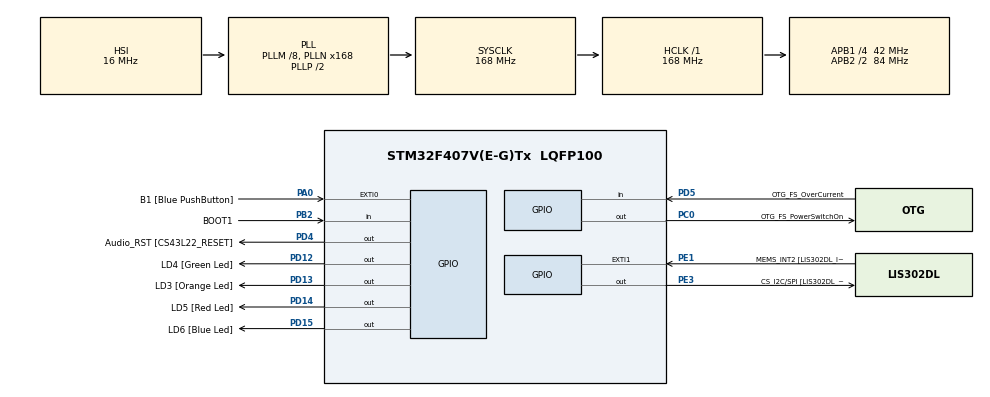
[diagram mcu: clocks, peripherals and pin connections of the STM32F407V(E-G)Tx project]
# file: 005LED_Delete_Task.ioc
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Mcu.Family=STM32F4
Mcu.Name=STM32F407V(E-G)Tx
Mcu.Package=LQFP100
NVIC.PriorityGroup=NVIC_PRIORITYGROUP_4
NVIC.TIM6_DAC_IRQn=true\:0\:0\:false\:false\:true\:false\:true\:true
NVIC.TimeBase=TIM6_DAC_IRQn
NVIC.TimeBaseIP=TIM6
PA0-WKUP.GPIO_Label=B1 [Blue PushButton]
PA0-WKUP.Signal=GPXTI0
PA10.GPIO_Label=OTG_FS_ID
PA10.GPIO_Mode=GPIO_MODE_AF_PP
PA10.GPIO_PuPd=GPIO_NOPULL
PA10.GPIO_Speed=GPIO_SPEED_FREQ_LOW
PA10.Signal=USB_OTG_FS_ID
PA11.GPIO_Label=OTG_FS_DM
PA11.GPIO_Mode=GPIO_MODE_AF_PP
PA11.GPIO_PuPd=GPIO_NOPULL
PA11.GPIO_Speed=GPIO_SPEED_FREQ_LOW
PA11.Signal=USB_OTG_FS_DM
PA12.GPIO_Label=OTG_FS_DP
PA12.GPIO_Mode=GPIO_MODE_AF_PP
PA12.GPIO_PuPd=GPIO_NOPULL
PA12.GPIO_Speed=GPIO_SPEED_FREQ_LOW
PA12.Signal=USB_OTG_FS_DP
PA13.GPIO_Label=SWDIO
PA13.Signal=SYS_JTMS-SWDIO
PA14.GPIO_Label=SWCLK
PA14.Signal=SYS_JTCK-SWCLK
PA4.GPIO_Label=I2S3_WS [CS43L22_LRCK]
PA4.GPIO_Mode=GPIO_MODE_AF_PP
PA4.GPIO_PuPd=GPIO_NOPULL
PA4.GPIO_Speed=GPIO_SPEED_FREQ_LOW
PA4.Signal=I2S3_WS
PA5.GPIO_Label=SPI1_SCK [LIS302DL_SCL/SPC]
PA5.GPIO_Mode=GPIO_MODE_AF_PP
PA5.GPIO_PuPd=GPIO_NOPULL
PA5.GPIO_Speed=GPIO_SPEED_FREQ_LOW
PA5.Signal=SPI1_SCK
PA6.GPIO_Label=SPI1_MISO [LIS302DL_SDO]
PA6.GPIO_Mode=GPIO_MODE_AF_PP
PA6.GPIO_PuPd=GPIO_NOPULL
PA6.GPIO_Speed=GPIO_SPEED_FREQ_LOW
PA6.Signal=SPI1_MISO
PA7.GPIO_Label=SPI1_MOSI [LIS302DL_SDA/SDI/SDO]
PA7.GPIO_Mode=GPIO_MODE_AF_PP
PA7.GPIO_PuPd=GPIO_NOPULL
PA7.GPIO_Speed=GPIO_SPEED_FREQ_LOW
PA7.Signal=SPI1_MOSI
PA9.GPIO_Label=VBUS_FS
PA9.GPIO_Mode=GPIO_MODE_INPUT
PA9.GPIO_PuPd=GPIO_NOPULL
PA9.Signal=USB_OTG_FS_VBUS
PB10.GPIO_Label=CLK_IN [MP45DT02_CLK]
PB10.GPIO_Mode=GPIO_MODE_AF_PP
PB10.GPIO_PuPd=GPIO_NOPULL
PB10.GPIO_Speed=GPIO_SPEED_FREQ_LOW
PB10.Signal=I2S2_CK
PB2.GPIO_Label=BOOT1
PB2.GPIO_Mode=GPIO_MODE_INPUT
PB2.GPIO_PuPd=GPIO_NOPULL
PB2.Signal=GPIO_Input
PB3.GPIO_Label=SWO
PB3.Signal=SYS_JTDO-SWO
PB6.GPIO_Label=Audio_SCL [CS43L22_SCL]
PB6.GPIO_Mode=GPIO_MODE_AF_OD
PB6.GPIO_PuPd=GPIO_NOPULL
PB6.GPIO_Speed=GPIO_SPEED_FREQ_LOW
PB6.Signal=I2C1_SCL
PB9.GPIO_Label=Audio_SDA [CS43L22_SDA]
PB9.GPIO_Mode=GPIO_MODE_AF_OD
PB9.GPIO_PuPd=GPIO_NOPULL
PB9.GPIO_Speed=GPIO_SPEED_FREQ_LOW
PB9.Signal=I2C1_SDA
PC0.GPIO_Label=OTG_FS_PowerSwitchOn
PC0.GPIO_PuPd=GPIO_NOPULL
PC0.GPIO_Speed=GPIO_SPEED_FREQ_LOW
PC0.PinState=GPIO_PIN_SET
PC0.Signal=GPIO_Output
PC10.GPIO_Label=I2S3_SCK [CS43L22_SCLK]
PC10.GPIO_Mode=GPIO_MODE_AF_PP
PC10.GPIO_PuPd=GPIO_NOPULL
PC10.GPIO_Speed=GPIO_SPEED_FREQ_LOW
PC10.Signal=I2S3_CK
PC12.GPIO_Label=I2S3_SD [CS43L22_SDIN]
PC12.GPIO_Mode=GPIO_MODE_AF_PP
PC12.GPIO_PuPd=GPIO_NOPULL
PC12.GPIO_Speed=GPIO_SPEED_FREQ_LOW
PC12.Signal=I2S3_SD
PC14-OSC32_IN.GPIO_Label=PC14-OSC32_IN
PC14-OSC32_IN.Signal=RCC_OSC32_IN
PC15-OSC32_OUT.GPIO_Label=PC15-OSC32_OUT
PC15-OSC32_OUT.Signal=RCC_OSC32_OUT
PC3.GPIO_Label=PDM_OUT [MP45DT02_DOUT]
PC3.GPIO_Mode=GPIO_MODE_AF_PP
PC3.GPIO_PuPd=GPIO_NOPULL
PC3.GPIO_Speed=GPIO_SPEED_FREQ_LOW
PC3.Signal=I2S2_SD
PC7.GPIO_Label=I2S3_MCK [CS43L22_MCLK]
PC7.GPIO_Mode=GPIO_MODE_AF_PP
PC7.GPIO_PuPd=GPIO_NOPULL
PC7.GPIO_Speed=GPIO_SPEED_FREQ_LOW
PC7.Signal=I2S3_MCK
PD12.GPIO_Label=LD4 [Green Led]
PD12.GPIO_PuPd=GPIO_NOPULL
PD12.GPIO_Speed=GPIO_SPEED_FREQ_LOW
PD12.Signal=GPIO_Output
PD13.GPIO_Label=LD3 [Orange Led]
PD13.GPIO_PuPd=GPIO_NOPULL
PD13.GPIO_Speed=GPIO_SPEED_FREQ_LOW
PD13.Signal=GPIO_Output
PD14.GPIO_Label=LD5 [Red Led]
PD14.GPIO_PuPd=GPIO_NOPULL
PD14.GPIO_Speed=GPIO_SPEED_FREQ_LOW
PD14.Signal=GPIO_Output
PD15.GPIO_Label=LD6 [Blue Led]
PD15.GPIO_PuPd=GPIO_NOPULL
PD15.GPIO_Speed=GPIO_SPEED_FREQ_LOW
PD15.Signal=GPIO_Output
PD4.GPIO_Label=Audio_RST [CS43L22_RESET]
PD4.GPIO_PuPd=GPIO_NOPULL
PD4.GPIO_Speed=GPIO_SPEED_FREQ_LOW
PD4.Signal=GPIO_Output
PD5.GPIO_Label=OTG_FS_OverCurrent
PD5.GPIO_Mode=GPIO_MODE_INPUT
PD5.GPIO_PuPd=GPIO_NOPULL
PD5.Signal=GPIO_Input
PE1.GPIO_Label=MEMS_INT2 [LIS302DL_INT2]
PE1.GPIO_ModeDefaultEXTI=GPIO_MODE_EVT_RISING
PE1.GPIO_PuPd=GPIO_NOPULL
PE1.Signal=GPXTI1
PE3.GPIO_Label=CS_I2C/SPI [LIS302DL_CS_I2C/SPI]
PE3.GPIO_PuPd=GPIO_NOPULL
PE3.GPIO_Speed=GPIO_SPEED_FREQ_LOW
PE3.Signal=GPIO_Output
PH0-OSC_IN.GPIO_Label=PH0-OSC_IN
PH0-OSC_IN.Signal=RCC_OSC_IN
PH1-OSC_OUT.GPIO_Label=PH1-OSC_OUT
PH1-OSC_OUT.Signal=RCC_OSC_OUT
ProjectManager.HeapSize=0x200
ProjectManager.StackSize=0x400
ProjectManager.TargetToolchain=STM32CubeIDE
RCC.48MHZClocksFreq_Value=48000000
RCC.AHBFreq_Value=168000000
RCC.APB1CLKDivider=RCC_HCLK_DIV4
RCC.APB1Freq_Value=42000000
RCC.APB1TimFreq_Value=84000000
RCC.APB2CLKDivider=RCC_HCLK_DIV2
RCC.APB2Freq_Value=84000000
RCC.APB2TimFreq_Value=168000000
RCC.CortexFreq_Value=168000000
RCC.HCLKFreq_Value=168000000
RCC.HSE_VALUE=8000000
RCC.HSI_VALUE=16000000
RCC.LSE_VALUE=32768
RCC.PLLM=8
RCC.PLLN=168
RCC.PLLQ=7
RCC.SYSCLKFreq_VALUE=168000000
RCC.SYSCLKSource=RCC_SYSCLKSOURCE_PLLCLK
RCC.VCOOutputFreq_Value=336000000
VP_SYS_VS_tim6.Mode=TIM6
board=STM32F407G-DISC1

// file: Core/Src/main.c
/* USER CODE BEGIN Header */
/**
  ******************************************************************************
  * @file           : main.c
  * @brief          : Main program body
  ******************************************************************************
  * @attention
  *
  * Copyright (c) 2024 STMicroelectronics.
  * All rights reserved.
  *
  * This software is licensed under terms that can be found in the LICENSE file
  * in the root directory of this software component.
  * If no LICENSE file comes with this software, it is provided AS-IS.
  *
  ******************************************************************************
  */
/* USER CODE END Header */
#include "main.h"

/* USER CODE BEGIN Includes */
#include "FreeRTOS.h"
#include "task.h"
#include <stdio.h>
/* USER CODE END Includes */

/* USER CODE BEGIN PM */
#define DWT_CTRL (*(volatile uint32_t*)0xE0001000)
/* USER CODE END PM */

void SystemClock_Config(void);
static void MX_GPIO_Init(void);
/* USER CODE BEGIN PFP */
static void led_green_handler(void* parameters);
static void led_orange_handler(void* parameters);
static void led_red_handler(void* parameters);
static void button_handler (void* parameters);
static void resume_handler(void* parameters);

extern void SEGGER_UART_init(uint32_t);

TaskHandle_t ledg_task_handle;
TaskHandle_t ledr_task_handle;
TaskHandle_t ledo_task_handle;
TaskHandle_t btn_task_handle;
TaskHandle_t resume_task_handle;
TaskHandle_t volatile next_task_handle = NULL;
/* USER CODE END PFP */

int main(void)
{
  /* USER CODE BEGIN 1 */

  BaseType_t status;
  /* USER CODE END 1 */

  /* MCU Configuration--------------------------------------------------------*/

  /* Reset of all peripherals, Initializes the Flash interface and the Systick. */
  HAL_Init();

  /* Configure the system clock */
  SystemClock_Config();

  /* Initialize all configured peripherals */
  MX_GPIO_Init();
  /* USER CODE BEGIN 2 */

  SEGGER_UART_init(500000);

//  Cyclic count enable
  DWT_CTRL |=(1<<0);

  SEGGER_SYSVIEW_Conf();

//  task creation
  status = xTaskCreate(led_green_handler,
              "LED_green_task",
              200,
              NULL,
              3,
              &ledg_task_handle
                            );

  configASSERT(status == pdPASS);

  next_task_handle = ledg_task_handle;

  status = xTaskCreate(led_red_handler,
                "LED_red_task",
                200,
                NULL,
                1,
                &ledr_task_handle
                              );

  configASSERT(status == pdPASS);

  status = xTaskCreate(led_orange_handler,
                "LED_orange_task",
                200,
                NULL,
                2,
				&ledo_task_handle
                              );

   configASSERT(status == pdPASS);

   status = xTaskCreate(resume_handler,
                 "resume_task",
                 200,
                 NULL,
                 4,
 				&resume_task_handle
                               );

    configASSERT(status == pdPASS);

   status = xTaskCreate(button_handler,
                   "Button Task",
                   200,
                   NULL,
                   5,
                   &btn_task_handle
                                 );

    configASSERT(status == pdPASS);

//    Start the scheduler

    vTaskStartScheduler();

  /* USER CODE END 2 */

  /* Infinite loop */
  while (1)
  {

  }
}

void SystemClock_Config(void)
{
  RCC_OscInitTypeDef RCC_OscInitStruct = {0};
  RCC_ClkInitTypeDef RCC_ClkInitStruct = {0};

  /** Configure the main internal regulator output voltage
  */
  __HAL_RCC_PWR_CLK_ENABLE();
  __HAL_PWR_VOLTAGESCALING_CONFIG(PWR_REGULATOR_VOLTAGE_SCALE1);

  /** Initializes the RCC Oscillators according to the specified parameters
  * in the RCC_OscInitTypeDef structure.
  */
  RCC_OscInitStruct.OscillatorType = RCC_OSCILLATORTYPE_HSI;
  RCC_OscInitStruct.HSIState = RCC_HSI_ON;
  RCC_OscInitStruct.HSICalibrationValue = RCC_HSICALIBRATION_DEFAULT;
  RCC_OscInitStruct.PLL.PLLState = RCC_PLL_ON;
  RCC_OscInitStruct.PLL.PLLSource = RCC_PLLSOURCE_HSI;
  RCC_OscInitStruct.PLL.PLLM = 8;
  RCC_OscInitStruct.PLL.PLLN = 168;
  RCC_OscInitStruct.PLL.PLLP = RCC_PLLP_DIV2;
  RCC_OscInitStruct.PLL.PLLQ = 7;
  if (HAL_RCC_OscConfig(&RCC_OscInitStruct) != HAL_OK)
  {
    Error_Handler();
  }

  /** Initializes the CPU, AHB and APB buses clocks
  */
  RCC_ClkInitStruct.ClockType = RCC_CLOCKTYPE_HCLK|RCC_CLOCKTYPE_SYSCLK
                              |RCC_CLOCKTYPE_PCLK1|RCC_CLOCKTYPE_PCLK2;
  RCC_ClkInitStruct.SYSCLKSource = RCC_SYSCLKSOURCE_PLLCLK;
  RCC_ClkInitStruct.AHBCLKDivider = RCC_SYSCLK_DIV1;
  RCC_ClkInitStruct.APB1CLKDivider = RCC_HCLK_DIV4;
  RCC_ClkInitStruct.APB2CLKDivider = RCC_HCLK_DIV2;

  if (HAL_RCC_ClockConfig(&RCC_ClkInitStruct, FLASH_LATENCY_5) != HAL_OK)
  {
    Error_Handler();
  }
}

static void MX_GPIO_Init(void)
{
  GPIO_InitTypeDef GPIO_InitStruct = {0};

  /* GPIO Ports Clock Enable */
  __HAL_RCC_GPIOE_CLK_ENABLE();
  __HAL_RCC_GPIOC_CLK_ENABLE();
  __HAL_RCC_GPIOH_CLK_ENABLE();
  __HAL_RCC_GPIOA_CLK_ENABLE();
  __HAL_RCC_GPIOB_CLK_ENABLE();
  __HAL_RCC_GPIOD_CLK_ENABLE();

  /*Configure GPIO pin Output Level */
  HAL_GPIO_WritePin(CS_I2C_SPI_GPIO_Port, CS_I2C_SPI_Pin, GPIO_PIN_RESET);

  /*Configure GPIO pin Output Level */
  HAL_GPIO_WritePin(OTG_FS_PowerSwitchOn_GPIO_Port, OTG_FS_PowerSwitchOn_Pin, GPIO_PIN_SET);

  /*Configure GPIO pin Output Level */
  HAL_GPIO_WritePin(GPIOD, LD4_Pin|LD3_Pin|LD5_Pin|LD6_Pin
                          |Audio_RST_Pin, GPIO_PIN_RESET);

  /*Configure GPIO pin : CS_I2C_SPI_Pin */
  GPIO_InitStruct.Pin = CS_I2C_SPI_Pin;
  GPIO_InitStruct.Mode = GPIO_MODE_OUTPUT_PP;
  GPIO_InitStruct.Pull = GPIO_NOPULL;
  GPIO_InitStruct.Speed = GPIO_SPEED_FREQ_LOW;
  HAL_GPIO_Init(CS_I2C_SPI_GPIO_Port, &GPIO_InitStruct);

  /*Configure GPIO pin : OTG_FS_PowerSwitchOn_Pin */
  GPIO_InitStruct.Pin = OTG_FS_PowerSwitchOn_Pin;
  GPIO_InitStruct.Mode = GPIO_MODE_OUTPUT_PP;
  GPIO_InitStruct.Pull = GPIO_NOPULL;
  GPIO_InitStruct.Speed = GPIO_SPEED_FREQ_LOW;
  HAL_GPIO_Init(OTG_FS_PowerSwitchOn_GPIO_Port, &GPIO_InitStruct);

  /*Configure GPIO pin : PDM_OUT_Pin */
  GPIO_InitStruct.Pin = PDM_OUT_Pin;
  GPIO_InitStruct.Mode = GPIO_MODE_AF_PP;
  GPIO_InitStruct.Pull = GPIO_NOPULL;
  GPIO_InitStruct.Speed = GPIO_SPEED_FREQ_LOW;
  GPIO_InitStruct.Alternate = GPIO_AF5_SPI2;
  HAL_GPIO_Init(PDM_OUT_GPIO_Port, &GPIO_InitStruct);

  /*Configure GPIO pin : B1_Pin */
  GPIO_InitStruct.Pin = B1_Pin;
  GPIO_InitStruct.Mode = GPIO_MODE_IT_RISING;
  GPIO_InitStruct.Pull = GPIO_NOPULL;
  HAL_GPIO_Init(B1_GPIO_Port, &GPIO_InitStruct);

  /*Configure GPIO pin : I2S3_WS_Pin */
  GPIO_InitStruct.Pin = I2S3_WS_Pin;
  GPIO_InitStruct.Mode = GPIO_MODE_AF_PP;
  GPIO_InitStruct.Pull = GPIO_NOPULL;
  GPIO_InitStruct.Speed = GPIO_SPEED_FREQ_LOW;
  GPIO_InitStruct.Alternate = GPIO_AF6_SPI3;
  HAL_GPIO_Init(I2S3_WS_GPIO_Port, &GPIO_InitStruct);

  /*Configure GPIO pins : SPI1_SCK_Pin SPI1_MISO_Pin SPI1_MOSI_Pin */
  GPIO_InitStruct.Pin = SPI1_SCK_Pin|SPI1_MISO_Pin|SPI1_MOSI_Pin;
  GPIO_InitStruct.Mode = GPIO_MODE_AF_PP;
  GPIO_InitStruct.Pull = GPIO_NOPULL;
  GPIO_InitStruct.Speed = GPIO_SPEED_FREQ_LOW;
  GPIO_InitStruct.Alternate = GPIO_AF5_SPI1;
  HAL_GPIO_Init(GPIOA, &GPIO_InitStruct);

  /*Configure GPIO pin : BOOT1_Pin */
  GPIO_InitStruct.Pin = BOOT1_Pin;
  GPIO_InitStruct.Mode = GPIO_MODE_INPUT;
  GPIO_InitStruct.Pull = GPIO_NOPULL;
  HAL_GPIO_Init(BOOT1_GPIO_Port, &GPIO_InitStruct);

  /*Configure GPIO pin : CLK_IN_Pin */
  GPIO_InitStruct.Pin = CLK_IN_Pin;
  GPIO_InitStruct.Mode = GPIO_MODE_AF_PP;
  GPIO_InitStruct.Pull = GPIO_NOPULL;
  GPIO_InitStruct.Speed = GPIO_SPEED_FREQ_LOW;
  GPIO_InitStruct.Alternate = GPIO_AF5_SPI2;
  HAL_GPIO_Init(CLK_IN_GPIO_Port, &GPIO_InitStruct);

  /*Configure GPIO pins : LD4_Pin LD3_Pin LD5_Pin LD6_Pin
                           Audio_RST_Pin */
  GPIO_InitStruct.Pin = LD4_Pin|LD3_Pin|LD5_Pin|LD6_Pin
                          |Audio_RST_Pin;
  GPIO_InitStruct.Mode = GPIO_MODE_OUTPUT_PP;
  GPIO_InitStruct.Pull = GPIO_NOPULL;
  GPIO_InitStruct.Speed = GPIO_SPEED_FREQ_LOW;
  HAL_GPIO_Init(GPIOD, &GPIO_InitStruct);

  /*Configure GPIO pins : I2S3_MCK_Pin I2S3_SCK_Pin I2S3_SD_Pin */
  GPIO_InitStruct.Pin = I2S3_MCK_Pin|I2S3_SCK_Pin|I2S3_SD_Pin;
  GPIO_InitStruct.Mode = GPIO_MODE_AF_PP;
  GPIO_InitStruct.Pull = GPIO_NOPULL;
  GPIO_InitStruct.Speed = GPIO_SPEED_FREQ_LOW;
  GPIO_InitStruct.Alternate = GPIO_AF6_SPI3;
  HAL_GPIO_Init(GPIOC, &GPIO_InitStruct);

  /*Configure GPIO pin : VBUS_FS_Pin */
  GPIO_InitStruct.Pin = VBUS_FS_Pin;
  GPIO_InitStruct.Mode = GPIO_MODE_INPUT;
  GPIO_InitStruct.Pull = GPIO_NOPULL;
  HAL_GPIO_Init(VBUS_FS_GPIO_Port, &GPIO_InitStruct);

  /*Configure GPIO pins : OTG_FS_ID_Pin OTG_FS_DM_Pin OTG_FS_DP_Pin */
  GPIO_InitStruct.Pin = OTG_FS_ID_Pin|OTG_FS_DM_Pin|OTG_FS_DP_Pin;
  GPIO_InitStruct.Mode = GPIO_MODE_AF_PP;
  GPIO_InitStruct.Pull = GPIO_NOPULL;
  GPIO_InitStruct.Speed = GPIO_SPEED_FREQ_LOW;
  GPIO_InitStruct.Alternate = GPIO_AF10_OTG_FS;
  HAL_GPIO_Init(GPIOA, &GPIO_InitStruct);

  /*Configure GPIO pin : OTG_FS_OverCurrent_Pin */
  GPIO_InitStruct.Pin = OTG_FS_OverCurrent_Pin;
  GPIO_InitStruct.Mode = GPIO_MODE_INPUT;
  GPIO_InitStruct.Pull = GPIO_NOPULL;
  HAL_GPIO_Init(OTG_FS_OverCurrent_GPIO_Port, &GPIO_InitStruct);

  /*Configure GPIO pins : Audio_SCL_Pin Audio_SDA_Pin */
  GPIO_InitStruct.Pin = Audio_SCL_Pin|Audio_SDA_Pin;
  GPIO_InitStruct.Mode = GPIO_MODE_AF_OD;
  GPIO_InitStruct.Pull = GPIO_NOPULL;
  GPIO_InitStruct.Speed = GPIO_SPEED_FREQ_LOW;
  GPIO_InitStruct.Alternate = GPIO_AF4_I2C1;
  HAL_GPIO_Init(GPIOB, &GPIO_InitStruct);

  /*Configure GPIO pin : MEMS_INT2_Pin */
  GPIO_InitStruct.Pin = MEMS_INT2_Pin;
  GPIO_InitStruct.Mode = GPIO_MODE_EVT_RISING;
  GPIO_InitStruct.Pull = GPIO_NOPULL;
  HAL_GPIO_Init(MEMS_INT2_GPIO_Port, &GPIO_InitStruct);

}

/* USER CODE BEGIN 4 */
static void led_green_handler(void* parameters)
{
	BaseType_t status;
	while(1)
	{
		SEGGER_SYSVIEW_PrintfTarget("Toggling green LED");
		HAL_GPIO_TogglePin(GPIOD, LED_GREEN_PIN);
		status = xTaskNotifyWait(0, 0, NULL,pdMS_TO_TICKS(1000));
		if(status==pdTRUE)
		{
			vTaskSuspendAll();
			next_task_handle=ledo_task_handle;
			xTaskResumeAll();
			HAL_GPIO_WritePin(GPIOD, LED_GREEN_PIN, GPIO_PIN_SET);
			vTaskSuspend(NULL);
		}
	}
}

static void led_orange_handler(void* parameters)
{
	BaseType_t status;
	while(1)
	{
		SEGGER_SYSVIEW_PrintfTarget("Toggling orange LED");
		HAL_GPIO_TogglePin(GPIOD, LED_ORANGE_PIN);
		status = xTaskNotifyWait(0, 0, NULL,pdMS_TO_TICKS(1000));
		if(status==pdTRUE)
		{
			vTaskSuspendAll();
			next_task_handle=ledr_task_handle;
			xTaskResumeAll();
			HAL_GPIO_WritePin(GPIOD, LED_ORANGE_PIN, GPIO_PIN_SET);
			vTaskSuspend(NULL);
		}
	}
}
static void led_red_handler(void* parameters)
{
	BaseType_t status;
	while(1)
	{
		SEGGER_SYSVIEW_PrintfTarget("Toggling red LED");
		HAL_GPIO_TogglePin(GPIOD, LED_RED_PIN);
		status = xTaskNotifyWait(0, 0, NULL,pdMS_TO_TICKS(1000));
		if(status==pdTRUE)
		{
			vTaskSuspendAll();
			next_task_handle = resume_task_handle;
			xTaskResumeAll();
			HAL_GPIO_WritePin(GPIOD, LED_RED_PIN, GPIO_PIN_SET);
//			vTaskDelete(btn_task_handle);
			SEGGER_SYSVIEW_PrintfTarget("Delete 3 tasks");
			vTaskSuspend(NULL);
		}
	}
}

static void resume_handler(void* parameters)
{
	BaseType_t status;
		while(1)
		{
			status = xTaskNotifyWait(0, 0, NULL,pdMS_TO_TICKS(1000));
			if(status==pdTRUE)
			{
				vTaskSuspendAll();
				next_task_handle=ledg_task_handle;
				xTaskResumeAll();
				vTaskResume(ledg_task_handle);
				vTaskResume(ledo_task_handle);
				vTaskResume(ledr_task_handle);

			}
		}
}

static void button_handler (void* parameters)
{
	uint8_t btn_read = 0;
	uint8_t prev_read = 0;

	while(1)
	{
		btn_read = HAL_GPIO_ReadPin(GPIOA, GPIO_PIN_0);

		if(btn_read)
		{
			if(! prev_read)
			{
				xTaskNotify(next_task_handle,0,eNoAction);
			}
		}
		prev_read = btn_read;
		vTaskDelay(pdMS_TO_TICKS(10));
	}
}
/* USER CODE END 4 */

void HAL_TIM_PeriodElapsedCallback(TIM_HandleTypeDef *htim)
{
  if (htim->Instance == TIM6) {
    HAL_IncTick();
  }
}

void Error_Handler(void)
{
  __disable_irq();
  while (1)
  {
  }
}
